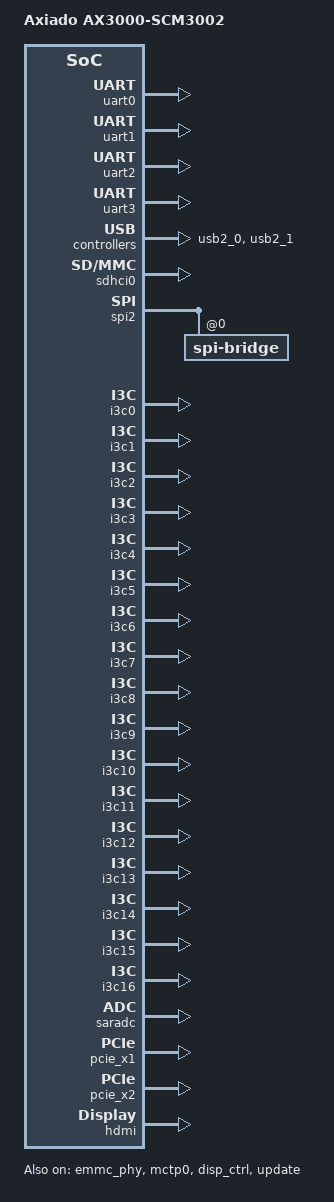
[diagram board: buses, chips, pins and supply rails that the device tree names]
// SPDX-License-Identifier: GPL-2.0+
 /*
  * DTSI file for Axiado AX3000-SCM3002
  * Copyright (c) 2025 Axiado Corporation.
  */

#include "ax3000-scm.dtsi"

/ {
	model = "Axiado AX3000-SCM3002";

	update: fw-update@4A00000 {
		compatible = "axiado,ax-fwupgrade";
		/* Reserved memory space for the firmware upgrade */
		reg = <0x00000000 0x04A00000 0x00000000 0x8000000>;
		status = "okay";
	};
};

/* GPIO bank 0 - 7 */
&gpio0 {
	status = "okay";
};

&gpio1 {
	status = "okay";
};

&gpio2 {
	status = "okay";
};

&gpio3 {
	status = "okay";
};

&gpio4 {
	status = "okay";
};

&gpio5 {
	status = "okay";
};

&gpio6 {
	status = "okay";
};

&gpio7 {
	status = "okay";
};

&uart0 {
	status = "okay";
};

&uart1 {
	status = "okay";
};

&uart2 {
	status = "okay";
};

&uart3 {
	status = "okay";
};

&usb2_0 {
	status = "okay";
};

&usb2_1 {
	status = "okay";
};

&emmc_phy {
	status = "okay";
};

&sdhci0 {
	status = "okay";
};

&spi2 {
	status = "okay";
	spi-bridge@0 {
		status = "okay";
		i2c-ssif@0 {
			status = "okay";
			ssif-bmc@10 {
				status = "okay";
			};
		};
	};
};

&i3c0 {
	status = "okay";
};

&i3c1 {
	status = "okay";
};

&i3c2 {
	status = "okay";
};

&i3c3 {
	status = "okay";
};

&i3c4 {
	status = "okay";
};

&i3c5 {
	status = "okay";
};

&i3c6 {
	status = "okay";
};

&i3c7 {
	status = "okay";
};

&i3c8 {
	status = "okay";
};

&i3c9 {
	status = "okay";
};

&i3c10 {
	status = "okay";
};

&i3c11 {
	status = "okay";
};

&i3c12 {
	status = "okay";
};

&i3c13 {
	status = "okay";
};

&i3c14 {
	status = "okay";
};

&i3c15 {
	status = "okay";
};

&i3c16 {
	status = "okay";
};

&saradc {
	status = "okay";
};

&pcie_x1 {
	status = "okay";
};

&pcie_x2 {
	status = "okay";
};

&mctp0 {
	status = "okay";
};

&hdmi {
	status = "okay";
};

&disp_ctrl {
	status = "okay";
};
